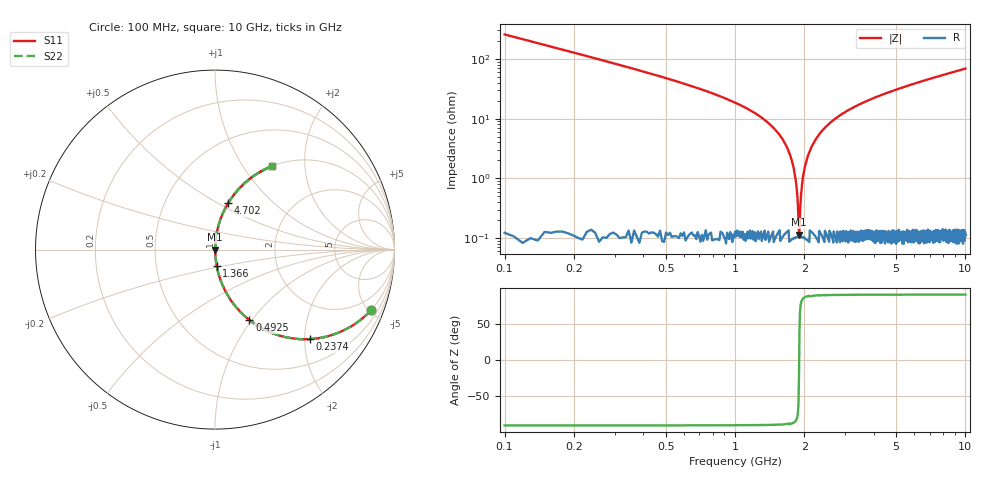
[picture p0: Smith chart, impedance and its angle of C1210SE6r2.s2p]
! AVX Thin Film Operation		Date: April 2012
! Description: Accu-P® Series, Thin Film, SMD, RF Capacitor
! Part Number: 12101J6R2BBTTR
!	100	MHz	-	10.05	GHz
!	Serial	Measurements
#	MHZ	S	MA	R	50
!	S11	S21	S12	S22
!	dB	Phase	dB	Phase	dB	Phase	dB	Phase
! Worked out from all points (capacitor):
!   1010 points, 100 MHz to 10 GHz, reference 50 ohm
!   read as one part in series: C = 6.2 pF near 149.1 MHz
!   lowest |Z| = 115 mohm at 1.896 GHz (marker M1)
!   series resonance near 1.899 GHz, so ESL is about 1.1 nH
!   S11 on the Smith chart (normalised r, x): 100 MHz: 1.01, -5.12; 237.4 MHz: 1.00, -2.13; 492.5 MHz: 1.00, -0.97; 1.366 GHz: 1.00, -0.18; 4.702 GHz: 1.00, +0.56; 10 GHz: 1.00, +1.37
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100  0.931 -21.3  0.364 68.6  0.364 68.6  0.931 -21.3
237.364  0.728 -43.2  0.684 46.8  0.684 46.8  0.728 -43.2
492.468  0.437 -64.0  0.899 25.9  0.899 25.9  0.437 -64.0
806.442  0.252 -75.2  0.967 14.6  0.967 14.6  0.252 -75.2
1365.709  0.09 -84.1  0.995 5.2  0.995 5.2  0.09 -84.1
1601.189  0.046 -86.0  0.998 2.6  0.998 2.6  0.046 -86.0
1758.176  0.021 -85.8  0.999 1.2  0.999 1.2  0.021 -85.8
1817.047  0.012 -84.0  0.999 0.7  0.999 0.7  0.012 -84.0
1866.105  0.00481 -76.5  0.999 0.3  0.999 0.3  0.00481 -76.5
1895.54  0.00119 -22.7  0.999 0.0  0.999 0.0  0.00119 -22.7
1934.787  0.00519 77.5  0.999 -0.3  0.999 -0.3  0.00519 77.5
1983.845  0.012 84.0  0.999 -0.7  0.999 -0.7  0.012 84.0
2042.716  0.02 85.7  0.999 -1.1  0.999 -1.1  0.02 85.7
2140.833  0.032 86.2  0.998 -1.9  0.998 -1.9  0.032 86.2
2268.385  0.048 85.9  0.998 -2.8  0.998 -2.8  0.048 85.9
2719.722  0.099 83.7  0.994 -5.7  0.994 -5.7  0.099 83.7
3406.541  0.165 80.1  0.985 -9.5  0.985 -9.5  0.165 80.1
4701.685  0.27 74.1  0.962 -15.6  0.962 -15.6  0.27 74.1
5054.906  0.295 72.6  0.954 -17.2  0.954 -17.2  0.295 72.6
6703.271  0.402 66.2  0.915 -23.7  0.915 -23.7  0.402 66.2
8351.635  0.491 60.5  0.87 -29.4  0.87 -29.4  0.491 60.5
10000  0.565 55.5  0.824 -34.4  0.824 -34.4  0.565 55.5
